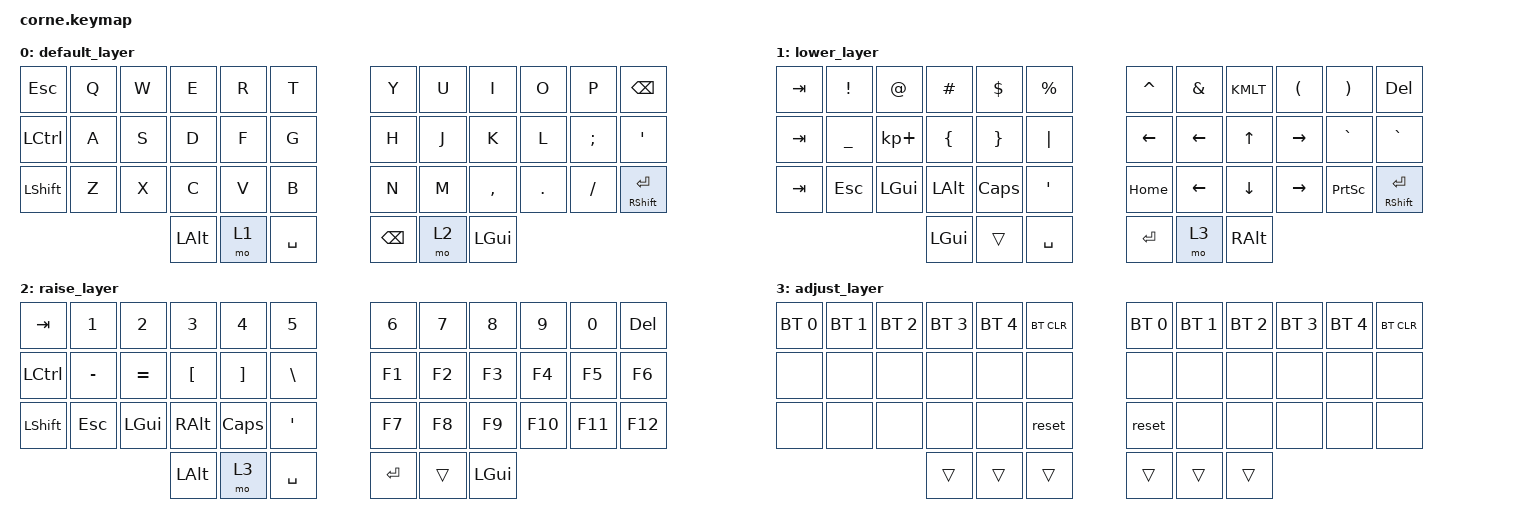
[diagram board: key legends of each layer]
/*
 * Copyright (c) 2020 The ZMK Contributors
 *
 * SPDX-License-Identifier: MIT
 */

#include <behaviors.dtsi>
#include <dt-bindings/zmk/keys.h>
#include <dt-bindings/zmk/bt.h>

/ {
        keymap {
                compatible = "zmk,keymap";

                default_layer {
// -----------------------------------------------------------------------------------------
// |  ESC |  Q  |  W  |  E  |  R  |  T  |   |  Y  |  U   |  I  |  O  |  P  | BKSP |
// | CTRL |  A  |  S  |  D  |  F  |  G  |   |  H  |  J   |  K  |  L  |  ;  |  '   |
// | SHFT |  Z  |  X  |  C  |  V  |  B  |   |  N  |  M   |  ,  |  .  |  /  | Rshift & ent  |
//                    | ALT | LWR | SPC |   | BKSP | RSE | GUI |
                        bindings = <
   &kp ESC   &kp Q &kp W &kp E &kp R &kp T   &kp Y &kp U  &kp I     &kp O   &kp P    &kp BSPC
   &kp LCTRL &kp A &kp S &kp D &kp F &kp G   &kp H &kp J  &kp K     &kp L   &kp SEMI &kp SQT
   &kp LSHFT &kp Z &kp X &kp C &kp V &kp B   &kp N &kp M  &kp COMMA &kp DOT &kp FSLH &mt RSHFT RET
                  &kp LALT &mo 1 &kp SPACE   &kp BKSP &mo 2 &kp LGUI
                        >;
                };
                lower_layer {
// -----------------------------------------------------------------------------------------
// |TAB |  !  |  @  |  #  |  $  |  %  |   |  ^  |  &  |  *  |  (  |  )  |    DEL    |
// |TAB |  _  |  +  |  {  |  }  | "|" |   | LFT | DWN |  UP | RGT |  `  |     ~     |
// |TAB | ESC | GUI | ALT | CAPS|  "  |   | HOME| END | PGUP| PGDN| PRSC| SHFT(RET) |
//                    | GUI |     | SPC |   | ENT |     | ALT |
                        bindings = <
   &kp TAB &kp EXCL  &kp AT      &kp HASH &kp DLLR &kp PRCNT      &kp CARET &kp AMPS &kp KMLT  &kp LPAR  &kp RPAR  &kp DEL
   &kp TAB &kp UNDER &kp KP_PLUS &kp LBRC &kp RBRC &kp PIPE       &kp LEFT  &kp LEFT &kp UP    &kp RIGHT &kp GRAVE &kp GRAVE
   &kp TAB &kp ESC   &kp LGUI    &kp LALT &kp CLCK &kp SQT        &kp HOME  &kp LEFT  &kp DOWN &kp RIGHT &kp PSCRN &mt RSHFT RET
                        &kp LGUI     &trans       &kp SPACE      &kp RET  &mo 3   &kp RALT
                        >;
                };

                raise_layer {
// -----------------------------------------------------------------------------------------
// |  TAB |  !  |  @  |  #  |  $  |  %  |   |  ^  |  &  |  *  |  (  |  )  | BKSP |
// | CTRL |     |     |     |     |     |   |  -  |  =  |  [  |  ]  |  \  |  `   |
// | SHFT |     |     |     |     |     |   |  _  |  +  |  {  |  }  | "|" |  ~   |
//                    | GUI |     | SPC |   | ENT |     | ALT |
                        bindings = <
   &kp TAB   &kp N1    &kp N2    &kp N3    &kp N4    &kp N5        &kp N6    &kp N7    &kp N8    &kp N9    &kp N0    &kp DEL
   &kp LCTRL &kp MINUS &kp EQUAL &kp LBKT  &kp RBKT  &kp BSLH      &kp F1    &kp F2    &kp F3    &kp F4    &kp F5    &kp F6
   &kp LSHFT &kp ESC   &kp LGUI  &kp RALT  &kp CLCK  &kp SQT       &kp F7    &kp F8    &kp F9    &kp F10   &kp F11   &kp F12
                    	     &kp LALT &mo 3   &kp SPACE   &kp RET   &trans    &kp LGUI
                        >;
                };
                
                adjust_layer {
// -----------------------------------------------------------------------------------------
// |    bt1      |          |          |          |    |         |   |  BT1  | BT2 | BT3 | BT4 | BT5 | BT CLR |
// |          |          |          |          |    |         |   |       |     |     |     |     |        |
// |          |          |          |          |    |         |   | RESET |     |     |     |     |        |
//                                              |     |     |     |     |     |
                        bindings = <
   &bt BT_SEL 0 &bt BT_SEL 1 &bt BT_SEL 2 &bt BT_SEL 3 &bt BT_SEL 4 &bt BT_CLR              &bt BT_SEL 0 &bt BT_SEL 1 &bt BT_SEL 2 &bt BT_SEL 3 &bt BT_SEL 4 &bt BT_CLR
   &none           &none           &none           &none           &none &none              &none        &none        &none        &none        &none        &none
   &none           &none           &none           &none           &none &reset             &reset       &none        &none        &none        &none        &none
                                              &trans      &trans       &trans               &trans       &trans      &trans
                        >;
                };
        };
};
